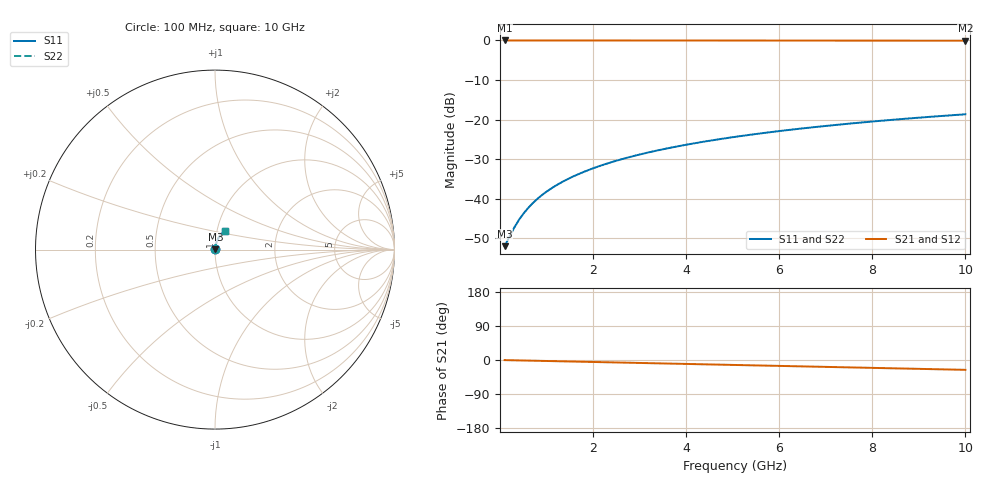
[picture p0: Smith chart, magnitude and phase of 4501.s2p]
# Hz S RI R 50.00
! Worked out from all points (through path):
!   100 points, 100 MHz to 10 GHz, reference 50 ohm
!   highest |S21| = -0.02 dB at 100 MHz (marker M1); lowest = -0.1 dB at 10 GHz (marker M2)
!   group delay of S21, straight-line fit = 7.22 ps
!   lowest |S11| = -52.0 dB at 100 MHz (marker M3), VSWR 1.01, Z = 50.2 + j0.12 ohm
!   |S11| at or under -10 dB: start of sweep to end of sweep
!   |S22| runs from -52.0 to -18.7 dB; largest |S21 - S12| = 0
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1e8  0.00222 0.0012  0.9978 -0.00452  0.9978 -0.00452  0.00222 0.0012
3e8  0.00229 0.0036  0.9977 -0.0136  0.9977 -0.0136  0.00229 0.0036
4e8  0.00233 0.00479  0.9976 -0.0181  0.9976 -0.0181  0.00233 0.00479
5e8  0.00239 0.00599  0.9975 -0.0226  0.9975 -0.0226  0.00239 0.00599
6e8  0.00245 0.00719  0.9973 -0.0271  0.9973 -0.0271  0.00245 0.00719
7e8  0.00253 0.00839  0.9972 -0.0316  0.9972 -0.0316  0.00253 0.00839
8e8  0.00261 0.00958  0.997 -0.0361  0.997 -0.0361  0.00261 0.00958
9e8  0.00271 0.0108  0.9968 -0.0407  0.9968 -0.0407  0.00271 0.0108
1e9  0.00282 0.012  0.9966 -0.0452  0.9966 -0.0452  0.00282 0.012
1.2e9  0.00306 0.0144  0.9961 -0.0542  0.9961 -0.0542  0.00306 0.0144
1.5e9  0.00351 0.0179  0.9952 -0.0677  0.9952 -0.0677  0.00351 0.0179
1.8e9  0.00405 0.0215  0.9941 -0.0812  0.9941 -0.0812  0.00405 0.0215
2.1e9  0.00469 0.025  0.9928 -0.0947  0.9928 -0.0947  0.00469 0.025
2.5e9  0.00569 0.0297  0.9908 -0.1127  0.9908 -0.1127  0.00569 0.0297
2.9e9  0.00686 0.0343  0.9884 -0.1306  0.9884 -0.1306  0.00686 0.0343
3.4e9  0.00855 0.0401  0.9849 -0.1529  0.9849 -0.1529  0.00855 0.0401
4.2e9  0.0118 0.0491  0.9783 -0.1885  0.9783 -0.1885  0.0118 0.0491
5.1e9  0.0162 0.0589  0.9692 -0.2281  0.9692 -0.2281  0.0162 0.0589
5.9e9  0.0208 0.0673  0.9597 -0.2629  0.9597 -0.2629  0.0208 0.0673
6.7e9  0.026 0.0753  0.9488 -0.2973  0.9488 -0.2973  0.026 0.0753
8.4e9  0.0389 0.091  0.9214 -0.3688  0.9214 -0.3688  0.0389 0.091
1e10  0.0531 0.1039  0.8905 -0.4338  0.8905 -0.4338  0.0531 0.1039
